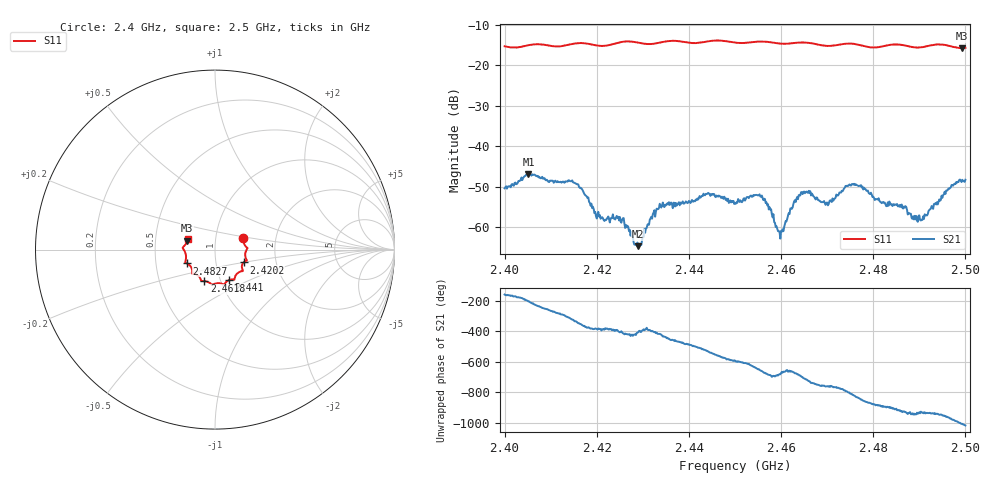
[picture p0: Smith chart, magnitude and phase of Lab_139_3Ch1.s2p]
# Hz S RI R 50
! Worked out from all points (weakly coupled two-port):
!   601 points, 2.4 GHz to 2.5 GHz, reference 50 ohm
!   highest |S21| = -46.88 dB at 2.4052 GHz (marker M1); lowest = -64.7 dB at 2.429 GHz (marker M2)
!   lowest |S11| = -15.8 dB at 2.4993 GHz (marker M3), VSWR 1.39, Z = 36.5 + j3.8 ohm
!   |S11| at or under -10 dB: start of sweep to end of sweep
!   S12 and S22 are empty: the file has one direction only
!   S11 on the Smith chart (normalised r, x): 2.4 GHz: 1.36, +0.18; 2.4202 GHz: 1.36, -0.20; 2.441 GHz: 1.10, -0.39; 2.4618 GHz: 0.84, -0.30; 2.4827 GHz: 0.72, -0.11; 2.5 GHz: 0.73, +0.09
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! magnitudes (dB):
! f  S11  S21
! 2.4 GHz  -15.4  -50.4
! 2.4052 GHz  -15.1  -46.9
! 2.4167 GHz  -14.5  -50.5
! 2.4202 GHz  -15.2  -56.9
! 2.4255 GHz  -14.3  -58.1
! 2.429 GHz  -14.4  -64.7
! 2.4333 GHz  -14.5  -55.5
! 2.441 GHz  -14.6  -53.7
! 2.444 GHz  -14.2  -51.8
! 2.45 GHz  -14.4  -54.0
! 2.4555 GHz  -14.2  -52.4
! 2.4597 GHz  -14.7  -61.2
! 2.4618 GHz  -14.7  -56.8
! 2.4643 GHz  -14.4  -51.4
! 2.4667 GHz  -14.6  -51.7
! 2.47 GHz  -15.3  -53.9
! 2.4758 GHz  -14.7  -49.3
! 2.4827 GHz  -15.2  -54.4
! 2.4833 GHz  -15.0  -54.7
! 2.4907 GHz  -15.6  -58.2
! 2.4993 GHz  -15.8  -48.3
! 2.5 GHz  -15.7  -48.3
